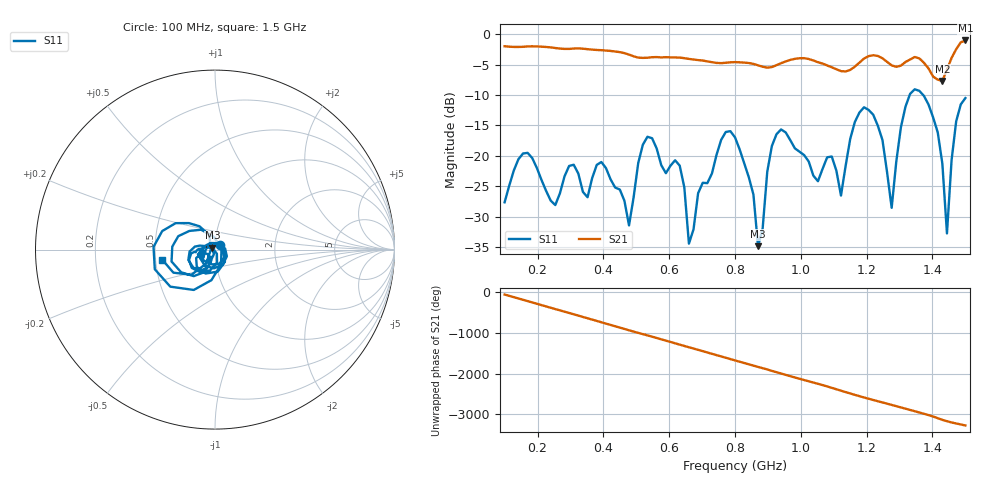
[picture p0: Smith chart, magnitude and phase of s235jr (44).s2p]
! NanoVNA-App
! Date: 2025-09-26 09:45:08
! Start: 100MHz Stop: 1,5GHz Points: 101
! S-Parameter data: F S11 S21 S12 S22
# Hz S RI R 50
!  Frequency  S11_Real  S11_Imag  S21_Real  S21_Imag  S12_Real  S12_Imag  S22_Real  S22_Imag
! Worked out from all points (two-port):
!   101 points, 100 MHz to 1.5 GHz, reference 50 ohm
!   highest |S21| = -1.00 dB at 1.5 GHz (marker M1); lowest = -7.7 dB at 1.43 GHz (marker M2)
!   |S21| within 3 dB of the highest: start of sweep to 655.5 MHz; 1.192 GHz to 1.25 GHz (58.03 MHz wide, 4.75 % of centre)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
!   lowest |S11| = -34.9 dB at 870 MHz (marker M3), VSWR 1.04, Z = 48.5 + j0.982 ohm
!   |S11| at or under -10 dB: start of sweep to 1.331 GHz; 1.372 GHz to end of sweep
!   S12 and S22 are empty: the file has one direction only
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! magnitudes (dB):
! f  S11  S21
! 100 MHz  -27.7  -2.0
! 170 MHz  -19.5  -2.0
! 338 MHz  -25.9  -2.4
! 394 MHz  -21.0  -2.6
! 478 MHz  -31.5  -3.3
! 520 MHz  -18.2  -3.9
! 576 MHz  -21.5  -3.8
! 632 MHz  -21.6  -3.8
! 660 MHz  -34.5  -4.0
! 800 MHz  -17.0  -4.6
! 870 MHz  -34.9  -5.1
! 926 MHz  -16.5  -5.1
! 1.038 GHz  -23.3  -4.3
! 1.122 GHz  -26.5  -6.1
! 1.192 GHz  -12.0  -4.0
! 1.248 GHz  -17.4  -3.9
! 1.276 GHz  -28.6  -5.1
! 1.346 GHz  -9.0  -3.7
! 1.43 GHz  -21.3  -7.7
! 1.444 GHz  -32.8  -5.8
! 1.472 GHz  -14.3  -2.4
! 1.5 GHz  -10.5  -1.0
